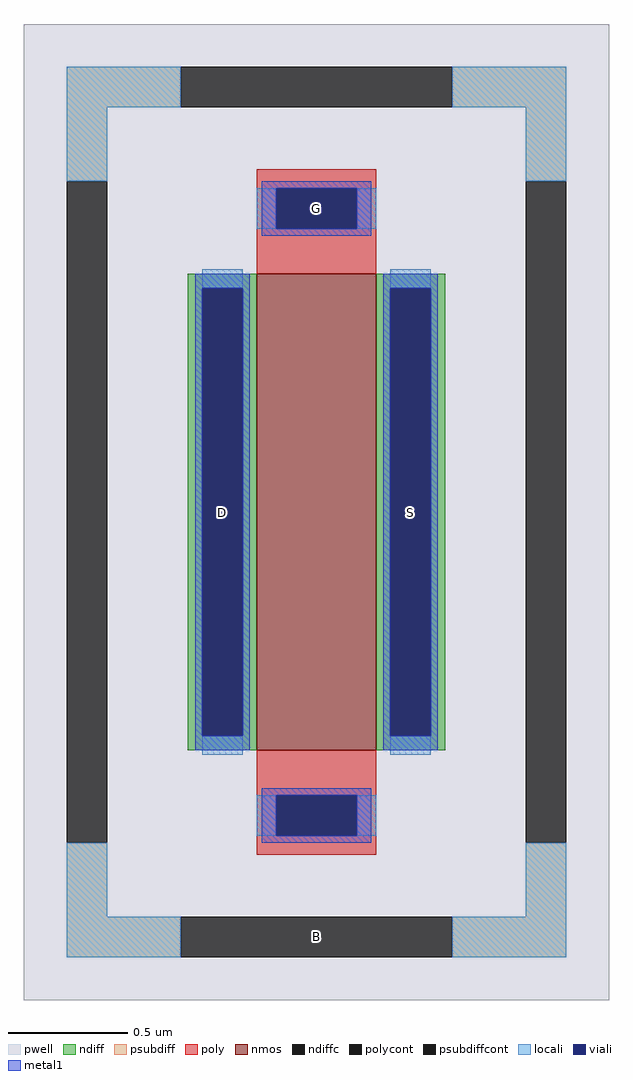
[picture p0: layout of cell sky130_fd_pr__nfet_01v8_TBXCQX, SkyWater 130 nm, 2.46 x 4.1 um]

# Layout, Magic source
magic
tech sky130A
magscale 1 2
<< pwell >>
rect -246 -410 246 410
<< nmos >>
rect -50 -200 50 200
<< ndiff >>
rect -108 188 -50 200
rect -108 -188 -96 188
rect -62 -188 -50 188
rect -108 -200 -50 -188
rect 50 188 108 200
rect 50 -188 62 188
rect 96 -188 108 188
rect 50 -200 108 -188
<< ndiffc >>
rect -96 -188 -62 188
rect 62 -188 96 188
<< psubdiff >>
rect -210 340 -114 374
rect 114 340 210 374
rect -210 278 -176 340
rect 176 278 210 340
rect -210 -340 -176 -278
rect 176 -340 210 -278
rect -210 -374 -114 -340
rect 114 -374 210 -340
<< psubdiffcont >>
rect -114 340 114 374
rect -210 -278 -176 278
rect 176 -278 210 278
rect -114 -374 114 -340
<< poly >>
rect -50 272 50 288
rect -50 238 -34 272
rect 34 238 50 272
rect -50 200 50 238
rect -50 -238 50 -200
rect -50 -272 -34 -238
rect 34 -272 50 -238
rect -50 -288 50 -272
<< polycont >>
rect -34 238 34 272
rect -34 -272 34 -238
<< locali >>
rect -210 340 -114 374
rect 114 340 210 374
rect -210 278 -176 340
rect 176 278 210 340
rect -50 238 -34 272
rect 34 238 50 272
rect -96 188 -62 204
rect -96 -204 -62 -188
rect 62 188 96 204
rect 62 -204 96 -188
rect -50 -272 -34 -238
rect 34 -272 50 -238
rect -210 -340 -176 -278
rect 176 -340 210 -278
rect -210 -374 -114 -340
rect 114 -374 210 -340
<< viali >>
rect -34 238 34 272
rect -96 -188 -62 188
rect 62 -188 96 188
rect -34 -272 34 -238
<< metal1 >>
rect -46 272 46 278
rect -46 238 -34 272
rect 34 238 46 272
rect -46 232 46 238
rect -102 188 -56 200
rect -102 -188 -96 188
rect -62 -188 -56 188
rect -102 -200 -56 -188
rect 56 188 102 200
rect 56 -188 62 188
rect 96 -188 102 188
rect 56 -200 102 -188
rect -46 -238 46 -232
rect -46 -272 -34 -238
rect 34 -272 46 -238
rect -46 -278 46 -272
<< labels >>
rlabel psubdiffcont 0 -357 0 -357 0 B
port 1 nsew
rlabel ndiffc -79 0 -79 0 0 D
port 2 nsew
rlabel ndiffc 79 0 79 0 0 S
port 3 nsew
rlabel polycont 0 255 0 255 0 G
port 4 nsew
<< properties >>
string FIXED_BBOX -193 -357 193 357
string gencell sky130_fd_pr__nfet_01v8
string library sky130
string parameters w 2 l 0.5 m 1 nf 1 diffcov 100 polycov 100 guard 1 glc 1 grc 1 gtc 1 gbc 1 tbcov 100 rlcov 100 topc 1 botc 1 poverlap 0 doverlap 1 lmin 0.15 wmin 0.42 class mosfet compatible {sky130_fd_pr__nfet_01v8 sky130_fd_pr__nfet_01v8_lvt  sky130_fd_bs_flash__special_sonosfet_star  sky130_fd_pr__nfet_g5v0d10v5 sky130_fd_pr__nfet_05v0_nvt  sky130_fd_pr__nfet_03v3_nvt} full_metal 1 viasrc 100 viadrn 100 viagate 100 viagb 0 viagr 0 viagl 0 viagt 0 doports 1
<< end >>
